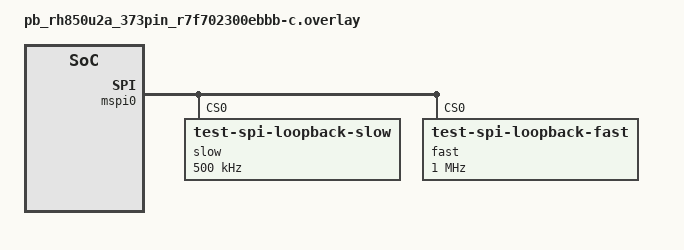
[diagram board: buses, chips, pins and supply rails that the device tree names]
/*
 * Copyright (c) 2026 Renesas Electronics Corporation
 * SPDX-License-Identifier: Apache-2.0
 */

&mspi0 {
	interrupts = <250 11>, <251 10>, <252 12>, <253 15>;
	spi-cs-sck-delay = <1>;
	spi-sck-sck-delay = <1>;

	slow@0 {
		compatible = "test-spi-loopback-slow";
		reg = <0>;
		spi-max-frequency = <500000>;
	};

	fast@0 {
		compatible = "test-spi-loopback-fast";
		reg = <0>;
		spi-max-frequency = <1000000>;
	};
};
